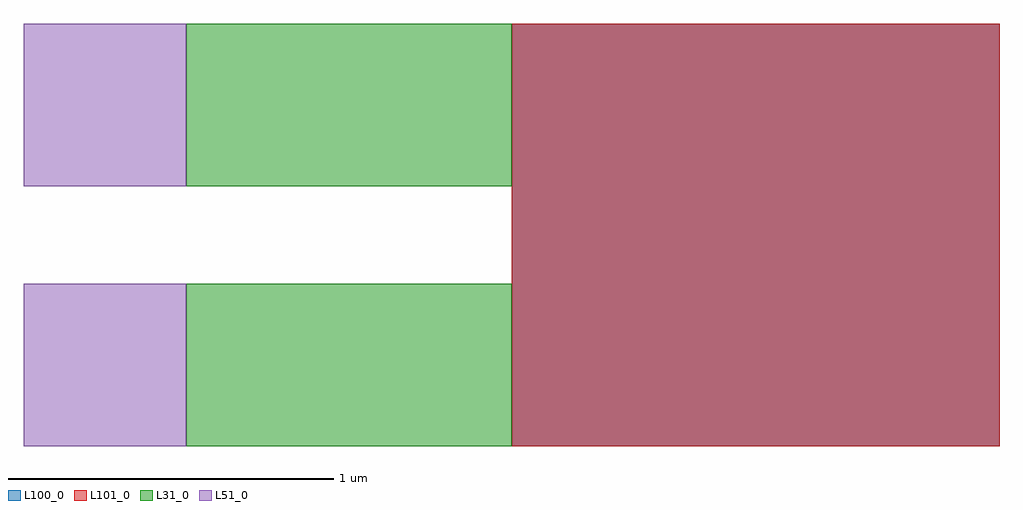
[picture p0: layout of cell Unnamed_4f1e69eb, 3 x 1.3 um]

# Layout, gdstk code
import gdstk
lib = gdstk.Library(unit=1e-6, precision=1e-09)
def R(c, l, rs):  # rectangles x0, y0, x1, y1
    for r in rs: c.add(gdstk.rectangle(r[:2], r[2:], *l))
L31_0 = (31, 0)
L51_0 = (51, 0)
L100_0 = (100, 0)
L101_0 = (101, 0)

unnamed_36349718 = lib.new_cell('Unnamed_36349718')
R(unnamed_36349718, L101_0, [(0,-0.65,1.5,0.65)])

unnamed_8d1b9a98 = lib.new_cell('Unnamed_8d1b9a98')
R(unnamed_8d1b9a98, L100_0, [(0,-0.65,1.5,0.65)])
unnamed_8d1b9a98.add(gdstk.Reference(unnamed_36349718, (0,0)))

unnamed_99faadb3 = lib.new_cell('Unnamed_99faadb3')

extrude_908d1563 = lib.new_cell('extrude_908d1563')
R(extrude_908d1563, L31_0, [(0,-0.25,1,0.25)])

extrude_79680f43 = lib.new_cell('extrude_79680f43')
R(extrude_79680f43, L51_0, [(0,-0.25,0.5,0.25)])

ubend = lib.new_cell('ubend')
ubend.add(gdstk.Reference(extrude_908d1563, (-1,0.4)))
ubend.add(gdstk.Reference(extrude_908d1563, (-1,-0.4)))
ubend.add(gdstk.Reference(extrude_79680f43, (-1.5,0.4)))
ubend.add(gdstk.Reference(extrude_79680f43, (-1.5,-0.4)))

unnamed_4f1e69eb = lib.new_cell('Unnamed_4f1e69eb')
unnamed_4f1e69eb.add(gdstk.Reference(unnamed_8d1b9a98, (0,0)))
unnamed_4f1e69eb.add(gdstk.Reference(unnamed_99faadb3, (0,0)))
unnamed_4f1e69eb.add(gdstk.Reference(ubend, (0,0)))

lib.write_gds('Unnamed_4f1e69eb.gds')
